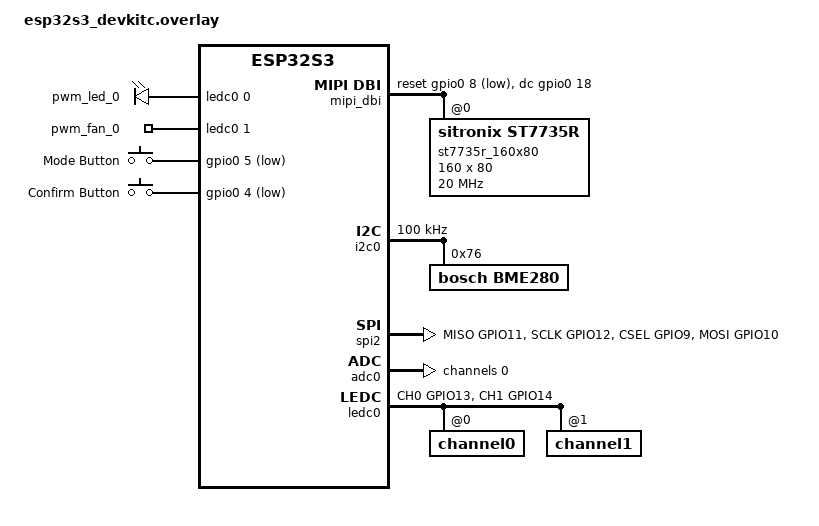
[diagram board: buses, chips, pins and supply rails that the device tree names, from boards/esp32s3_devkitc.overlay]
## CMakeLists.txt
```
cmake_minimum_required(VERSION 3.20.0)

find_package(Zephyr REQUIRED HINTS $ENV{ZEPHYR_BASE})
project(smart_env_monitor)

target_sources(app PRIVATE
    src/main.c
    src/sensor_thread.c
    src/input_thread.c
    src/controller_thread.c
    src/display_thread.c
    src/ui/screen_dashboard.c
    src/ui/screen_settings.c
    src/ui/screen_history.c
)

target_include_directories(app PRIVATE src)
```

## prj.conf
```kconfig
# ==============================================================================
# Smart Environment Monitor & Controller - Zephyr RTOS Configuration
# ==============================================================================

# ---- Stack Sizes ----
CONFIG_MAIN_STACK_SIZE=4096
CONFIG_SYSTEM_WORKQUEUE_STACK_SIZE=2048

# ---- Sensor Subsystem (BME280 via I2C) ----
CONFIG_SENSOR=y
CONFIG_I2C=y
CONFIG_BME280=y

# ---- Display (ST7735R via SPI) ----
CONFIG_SPI=y
CONFIG_DISPLAY=y

# ---- LVGL Graphics Library ----
CONFIG_LVGL=y
CONFIG_LV_MEM_CUSTOM=y
CONFIG_LV_Z_BITS_PER_PIXEL=16
CONFIG_LV_COLOR_16_SWAP=y
CONFIG_LV_Z_MEM_POOL_SIZE=16384

# LVGL Widgets
CONFIG_LV_CONF_MINIMAL=y
CONFIG_LV_USE_LABEL=y
CONFIG_LV_LABEL_TEXT_SELECTION=y
CONFIG_LV_LABEL_LONG_TXT_HINT=y
CONFIG_LV_USE_LINE=y
CONFIG_LV_USE_BAR=y
CONFIG_LV_USE_ARC=y
CONFIG_LV_USE_IMG=y

# LVGL Font (built-in Montserrat)
CONFIG_LV_FONT_MONTSERRAT_10=y
CONFIG_LV_FONT_MONTSERRAT_14=y
CONFIG_LV_FONT_MONTSERRAT_18=y

# ---- ADC (Potentiometer) ----
CONFIG_ADC=y

# ---- PWM (Fan + LED brightness) ----
CONFIG_PWM=y

# ---- GPIO (Buttons, LED) ----
CONFIG_GPIO=y

# ---- Floating Point Print Support ----
CONFIG_CBPRINTF_FP_SUPPORT=y

# ---- Logging ----
CONFIG_LOG=y
CONFIG_SENSOR_LOG_LEVEL_INF=y

# ---- Kernel Objects ----
CONFIG_POLL=y
```

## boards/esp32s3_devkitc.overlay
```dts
/*
 * Devicetree Overlay - Smart Environment Monitor & Controller
 * Board: ESP32-S3-DevKitC
 *
 * Hardware Pin Mapping:
 *   BME280       : I2C0 → SDA=GPIO15, SCL=GPIO16
 *   ST7735S LCD  : SPI2 → MOSI=GPIO10, MISO=GPIO11, SCLK=GPIO12, CS=GPIO9, DC=GPIO18, RST=GPIO8
 *   LED (PWM)    : LEDC CH0 → GPIO13
 *   Fan (PWM)    : LEDC CH1 → GPIO14
 *   Button 1     : GPIO5  (Mode select,  ACTIVE_LOW + internal PULL_UP)
 *   Button 2     : GPIO4  (Confirm/Act,  ACTIVE_LOW + internal PULL_UP)
 *   Potentiometer: ADC1 CH0 → GPIO1
 */

#include <zephyr/dt-bindings/pwm/pwm.h>
#include <zephyr/dt-bindings/mipi_dbi/mipi_dbi.h>
#include <zephyr/dt-bindings/pinctrl/esp32s3-pinctrl.h>

/ {
    aliases {
        my-bme280 = &bme280;
        my-led = &pwm_led_0;
        my-fan = &pwm_fan_0;
        my-button-mode = &button_mode;
        my-button-confirm = &button_confirm;
        my-adc = &adc0;
        my-adc-channel = &adc0_ch0;
    };

    chosen {
        zephyr,display = &st7735r_160x80;
    };

    /* ---- LEDs (PWM mode) ---- */
    my-pwm-leds {
        compatible = "pwm-leds";
        pwm_led_0: pwm_led_0 {
            pwms = <&ledc0 0 1000000 PWM_POLARITY_NORMAL>;
        };
    };

    /* ---- Fan (PWM mode) ---- */
    my-pwm-fans {
        compatible = "pwm-leds";
        pwm_fan_0: pwm_fan_0 {
            pwms = <&ledc0 1 1000000 PWM_POLARITY_NORMAL>;
        };
    };

    /* ---- Buttons ---- */
    buttons {
        compatible = "gpio-keys";
        debounce-interval-ms = <50>;

        button_mode: button_0 {
            gpios = <&gpio0 5 (GPIO_ACTIVE_LOW | GPIO_PULL_UP)>;
            label = "Mode Button";
        };
        button_confirm: button_1 {
            gpios = <&gpio0 4 (GPIO_ACTIVE_LOW | GPIO_PULL_UP)>;
            label = "Confirm Button";
        };
    };

    /* ---- MIPI DBI (SPI Display Interface) ---- */
    mipi_dbi {
        compatible = "zephyr,mipi-dbi-spi";
        spi-dev = <&spi2>;
        dc-gpios = <&gpio0 18 GPIO_ACTIVE_HIGH>;
        reset-gpios = <&gpio0 8 GPIO_ACTIVE_LOW>;
        #address-cells = <1>;
        #size-cells = <0>;

        st7735r_160x80: st7735r@0 {
            compatible = "sitronix,st7735r";
            reg = <0>;
            mipi-max-frequency = <20000000>;
            mipi-mode = <MIPI_DBI_MODE_SPI_4WIRE>;
            width = <160>;
            height = <80>;
            rgb-is-inverted;
            x-offset = <0>;
            y-offset = <24>;
            pwctr1 = [A2 02 84];
            pwctr2 = [C5];
            pwctr3 = [0A 00];
            pwctr4 = [8A 2A];
            pwctr5 = [8A EE];
            invctr = <7>;
            frmctr1 = [01 2C 2D];
            frmctr2 = [01 2C 2D];
            frmctr3 = [01 2C 2D 01 2C 2D];
            vmctr1 = <14>;
            gamctrp1 = [02 1C 07 12 37 32 29 2D 29 25 2B 39 00 01 03 10];
            gamctrn1 = [03 1D 07 06 2E 2C 29 2D 2E 2E 37 3F 00 00 02 10];
            colmod = <5>;
            madctl = <184>;
            caset = [00 00 00 9f];
            raset = [00 18 00 67];
        };
    };
};

/* ---- I2C0: BME280 ---- */
&pinctrl {
    i2c0_default: i2c0_default {
        group1 {
            pinmux = <I2C0_SDA_GPIO15>,
                     <I2C0_SCL_GPIO16>;
            bias-pull-up;
            drive-open-drain;
        };
    };

    /* SPI2: ST7735S LCD */
    spi2_custom_pins: spi2_custom_pins {
        group1 {
            pinmux = <SPIM2_MISO_GPIO11>,
                     <SPIM2_SCLK_GPIO12>,
                     <SPIM2_CSEL_GPIO9>;
        };
        group2 {
            pinmux = <SPIM2_MOSI_GPIO10>;
            output-low;
        };
    };

    /* LEDC: PWM for LED (CH0→GPIO13) and Fan (CH1→GPIO14) */
    ledctrl_0: led-0 {
        group1 {
            pinmux = <LEDC_CH0_GPIO13>,
                     <LEDC_CH1_GPIO14>;
            output-enable;
        };
    };
};

&i2c0 {
    status = "okay";
    clock-frequency = <I2C_BITRATE_STANDARD>;
    pinctrl-0 = <&i2c0_default>;
    pinctrl-names = "default";

    bme280: bme280@76 {
        compatible = "bosch,bme280";
        reg = <0x76>;
        status = "okay";
    };
};

&spi2 {
    pinctrl-0 = <&spi2_custom_pins>;
    status = "okay";
};

/* ---- ADC1: Potentiometer ---- */
&adc0 {
    status = "okay";
    #address-cells = <1>;
    #size-cells = <0>;

    adc0_ch0: channel@0 {
        reg = <0>;
        zephyr,gain = "ADC_GAIN_1_4";
        zephyr,reference = "ADC_REF_INTERNAL";
        zephyr,vref-mv = <3900>;
        zephyr,acquisition-time = <ADC_ACQ_TIME_DEFAULT>;
        zephyr,resolution = <12>;
    };
};

/* ---- LEDC: PWM Controller ---- */
&ledc0 {
    pinctrl-0 = <&ledctrl_0>;
    pinctrl-names = "default";
    status = "okay";
    #address-cells = <1>;
    #size-cells = <0>;

    channel0@0 {
        reg = <0x0>;
        timer = <0>;
    };
    channel1@1 {
        reg = <0x1>;
        timer = <1>;
    };
};
```

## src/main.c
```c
/**
 * @file main.c
 * @brief Smart Environment Monitor & Controller - Application Entry Point
 *
 * Initializes all message queues and spawns the 4 application threads:
 *   1. Sensor Thread   (Priority 5) - BME280 readings
 *   2. Input Thread    (Priority 4) - Buttons + Potentiometer
 *   3. Controller Thread (Priority 6) - State machine + actuators
 *   4. Display Thread  (Priority 7) - LVGL rendering on LCD
 */

#include <zephyr/kernel.h>
#include <zephyr/sys/printk.h>
#include "common.h"

/* ============================================================================
 * Thread Stack & Configuration
 * ========================================================================= */

#define SENSOR_STACK_SIZE       1024
#define INPUT_STACK_SIZE        1024
#define CONTROLLER_STACK_SIZE   2048
#define DISPLAY_STACK_SIZE      4096

#define SENSOR_PRIORITY         5
#define INPUT_PRIORITY          4
#define CONTROLLER_PRIORITY     6
#define DISPLAY_PRIORITY        7

K_THREAD_STACK_DEFINE(sensor_stack, SENSOR_STACK_SIZE);
K_THREAD_STACK_DEFINE(input_stack, INPUT_STACK_SIZE);
K_THREAD_STACK_DEFINE(controller_stack, CONTROLLER_STACK_SIZE);
K_THREAD_STACK_DEFINE(display_stack, DISPLAY_STACK_SIZE);

static struct k_thread sensor_thread_data;
static struct k_thread input_thread_data;
static struct k_thread controller_thread_data;
static struct k_thread display_thread_data;

/* ============================================================================
 * Message Queue Definitions
 * ========================================================================= */

/** Sensor → Controller: up to 10 sensor readings buffered */
K_MSGQ_DEFINE(sensor_msgq, sizeof(sensor_data_t), 10, 4);

/** Input → Controller: up to 10 input events buffered */
K_MSGQ_DEFINE(input_msgq, sizeof(input_event_t), 10, 4);

/** Controller → Display: 2-deep buffer (latest state) */
K_MSGQ_DEFINE(display_msgq, sizeof(display_data_t), 2, 4);

/* ============================================================================
 * Main Entry Point
 * ========================================================================= */

int main(void)
{
    printk("==============================================\n");
    printk(" Smart Environment Monitor & Controller\n");
    printk(" Platform: ESP32-S3-DevKitC + Zephyr RTOS\n");
    printk("==============================================\n\n");

    /* --- Spawn Sensor Thread --- */
    k_thread_create(&sensor_thread_data,
                    sensor_stack,
                    K_THREAD_STACK_SIZEOF(sensor_stack),
                    sensor_thread_entry,
                    NULL, NULL, NULL,
                    SENSOR_PRIORITY,
                    0,
                    K_NO_WAIT);
    k_thread_name_set(&sensor_thread_data, "sensor");
    printk("[main] Sensor thread created (priority %d)\n", SENSOR_PRIORITY);

    /* --- Spawn Input Thread --- */
    k_thread_create(&input_thread_data,
                    input_stack,
                    K_THREAD_STACK_SIZEOF(input_stack),
                    input_thread_entry,
                    NULL, NULL, NULL,
                    INPUT_PRIORITY,
                    0,
                    K_NO_WAIT);
    k_thread_name_set(&input_thread_data, "input");
    printk("[main] Input thread created (priority %d)\n", INPUT_PRIORITY);

    /* --- Spawn Controller Thread --- */
    k_thread_create(&controller_thread_data,
                    controller_stack,
                    K_THREAD_STACK_SIZEOF(controller_stack),
                    controller_thread_entry,
                    NULL, NULL, NULL,
                    CONTROLLER_PRIORITY,
                    0,
                    K_NO_WAIT);
    k_thread_name_set(&controller_thread_data, "controller");
    printk("[main] Controller thread created (priority %d)\n", CONTROLLER_PRIORITY);

    /* --- Spawn Display Thread --- */
    k_thread_create(&display_thread_data,
                    display_stack,
                    K_THREAD_STACK_SIZEOF(display_stack),
                    display_thread_entry,
                    NULL, NULL, NULL,
                    DISPLAY_PRIORITY,
                    0,
                    K_NO_WAIT);
    k_thread_name_set(&display_thread_data, "display");
    printk("[main] Display thread created (priority %d)\n", DISPLAY_PRIORITY);

    printk("\n[main] All threads started. System running.\n");

    /* Main thread has nothing else to do */
    while (1) {
        k_sleep(K_FOREVER);
    }

    return 0;
}
```

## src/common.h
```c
/**
 * @file common.h
 * @brief Shared data structures, enums, and message queue definitions
 *        for the Smart Environment Monitor & Controller.
 *
 * This header defines the inter-thread communication protocol:
 *   - sensor_data_t:   Sensor thread → Controller thread
 *   - input_event_t:   Input thread  → Controller thread
 *   - display_data_t:  Controller    → Display thread
 */

#ifndef COMMON_H
#define COMMON_H

#include <zephyr/kernel.h>
#include <zephyr/drivers/sensor.h>

/* ============================================================================
 * System Constants
 * ========================================================================= */

/** Temperature threshold range (°C) adjustable via potentiometer */
#define TEMP_THRESHOLD_MIN      20.0f
#define TEMP_THRESHOLD_MAX      40.0f
#define TEMP_THRESHOLD_DEFAULT  30.0f

/** Warning and critical offsets relative to threshold */
#define TEMP_WARNING_OFFSET     0.5f    /* Warning when within 0.5°C of threshold */
#define TEMP_CRITICAL_OFFSET    3.0f    /* Critical when 3.0°C above threshold */

/** Hysteresis to prevent rapid state oscillation (hunting) */
#define TEMP_HYSTERESIS         0.3f

/** History buffer for temperature chart */
#define TEMP_HISTORY_SIZE       60

/* ============================================================================
 * Actuator & Sensor Calibration Limits
 * ========================================================================= */

/**
 * Potentiometer ADC Calibration Limits:
 * - On ESP32-S3 with 3.3V supply and ADC_GAIN_1_4, the raw 12-bit ADC reading
 *   tops out at ~2850 at 3.3V (not 4095).
 * - Defining realistic MIN/MAX bounds ensures full 20.0°C - 40.0°C sweep.
 */
#define POT_ADC_RAW_MIN         20
#define POT_ADC_RAW_MAX         2850

/**
 * L298N Motor Driver Safety Limits (12V Adapter -> 3-6V DC Motor):
 * - Supply = 12V, L298N V_drop ≈ 1.8V -> Peak voltage ≈ 10.2V.
 * - MAX 50% PWM duty limits effective average voltage to ~5.1V - 5.5V (protects motor).
 * - MIN 28% PWM duty ensures motor overcomes static friction (~2.8V - 3.0V).
 */
#define FAN_PWM_MIN_DUTY_PCT    28.0f   /**< Min PWM duty when spinning (prevents stall) */
#define FAN_PWM_MAX_DUTY_PCT    50.0f   /**< Max PWM duty (caps voltage <= 5.5V on 12V supply) */

/**
 * LED PWM Limits:
 * - Limits maximum brightness to protect LED and avoid harsh glare.
 */
#define LED_PWM_MAX_DUTY_PCT    80.0f   /**< Max brightness limit (0-100%) */

/* ============================================================================
 * Enumerations
 * ========================================================================= */

/**
 * @brief System operating states (State Machine)
 */
typedef enum {
    STATE_IDLE = 0,     /**< Temp < (Threshold - 0.5°C) → fan off (0%), LED off */
    STATE_WARNING,      /**< Temp approaching Threshold (within 0.5°C) → fan 30%, LED blink slow */
    STATE_COOLING,      /**< Temp >= Threshold → fan 70%, LED on solid */
    STATE_CRITICAL,     /**< Temp >= Threshold + 3.0°C → fan 100%, LED blink fast */
} system_state_t;

/**
 * @brief Display screen modes (cycled by Button 1)
 */
typedef enum {
    SCREEN_DASHBOARD = 0,
    SCREEN_SETTINGS,
    SCREEN_HISTORY,
    SCREEN_COUNT        /**< Total number of screens */
} screen_mode_t;

/**
 * @brief Input event types
 */
typedef enum {
    INPUT_EVT_MODE_PRESS = 0,   /**< Button 1 pressed → cycle screen */
    INPUT_EVT_CONFIRM_PRESS,    /**< Button 2 pressed → confirm action / save threshold */
    INPUT_EVT_THRESHOLD_CHANGE, /**< Potentiometer value changed (staged preview) */
} input_event_type_t;

/* ============================================================================
 * Data Structures
 * ========================================================================= */

/**
 * @brief Sensor data packet (Sensor Thread → Controller Thread)
 */
typedef struct {
    float temperature;      /**< Temperature in °C */
    float humidity;         /**< Relative humidity in % */
    float pressure;         /**< Atmospheric pressure in kPa */
    int64_t timestamp_ms;   /**< Kernel uptime when sampled */
} sensor_data_t;

/**
 * @brief Input event packet (Input Thread → Controller Thread)
 */
typedef struct {
    input_event_type_t type;
    float value;            /**< For THRESHOLD_CHANGE: staged threshold in °C */
} input_event_t;

/**
 * @brief Display data packet (Controller Thread → Display Thread)
 *        Contains everything the display needs to render.
 */
typedef struct {
    /* Current sensor readings */
    float temperature;
    float humidity;
    float pressure;

    /* System state */
    system_state_t state;
    screen_mode_t  screen;
    float temp_threshold;       /**< Active threshold controlling state machine */
    float pending_threshold;    /**< Staged threshold being adjusted by potentiometer */
    bool  threshold_pending;    /**< True if user changed potentiometer without confirming */
    float fan_duty_pct;         /**< Fan duty cycle 0-100% */

    /* Temperature history for chart */
    float temp_history[TEMP_HISTORY_SIZE];
    int   history_count;    /**< Number of valid entries in history */
    int   history_index;    /**< Next write index (circular) */
} display_data_t;

/* ============================================================================
 * Message Queue Declarations (defined in main.c)
 * ========================================================================= */

/** Sensor → Controller: sensor readings */
extern struct k_msgq sensor_msgq;

/** Input → Controller: user input events */
extern struct k_msgq input_msgq;

/** Controller → Display: display update data */
extern struct k_msgq display_msgq;

/* ============================================================================
 * Thread Entry Point Declarations
 * ========================================================================= */

/**
 * @brief Sensor thread: reads BME280 periodically and pushes to sensor_msgq.
 */
void sensor_thread_entry(void *arg1, void *arg2, void *arg3);

/**
 * @brief Input thread: handles button ISRs (via workqueue) and ADC reads.
 */
void input_thread_entry(void *arg1, void *arg2, void *arg3);

/**
 * @brief Controller thread: state machine, fan/LED control.
 */
void controller_thread_entry(void *arg1, void *arg2, void *arg3);

/**
 * @brief Display thread: LVGL rendering on ST7735S LCD.
 */
void display_thread_entry(void *arg1, void *arg2, void *arg3);

#endif /* COMMON_H */
```

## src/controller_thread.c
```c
/**
 * @file controller_thread.c
 * @brief Controller Thread - State Machine + Fan/LED Actuator Control
 *
 * The brain of the system. Receives sensor data and user input, runs a
 * state machine to determine the appropriate system response, controls
 * the fan (PWM) and LED (PWM), and pushes aggregated display data.
 *
 * State Machine:
 *   IDLE     → temp < (threshold - hysteresis)
 *   WARNING  → temp within WARNING_OFFSET of threshold
 *   COOLING  → temp > threshold
 *   CRITICAL → temp > (threshold + CRITICAL_OFFSET)
 *
 * Zephyr concepts demonstrated:
 *   - Message queue consumer (k_msgq_get with K_NO_WAIT for polling)
 *   - PWM driver (pwm_set_pulse_dt)
 *   - Kernel timer for LED blink patterns (k_timer)
 *   - State machine design pattern
 *   - Hysteresis for stable state transitions
 */

#include <zephyr/kernel.h>
#include <zephyr/device.h>
#include <zephyr/drivers/pwm.h>
#include <zephyr/sys/printk.h>

#include <string.h>

#include "common.h"

/* ============================================================================
 * Configuration
 * ========================================================================= */

/** Controller loop interval */
#define CONTROLLER_LOOP_MS      100

/** LED blink periods (in timer ticks) */
#define LED_BLINK_SLOW_MS       500     /* Warning: 1 Hz */
#define LED_BLINK_FAST_MS       100     /* Critical: 5 Hz */

/* ============================================================================
 * Devicetree Bindings
 * ========================================================================= */

/** LED and Fan are defined as pwm-leds in the overlay */
static const struct pwm_dt_spec pwm_led =
    PWM_DT_SPEC_GET(DT_ALIAS(my_led));
static const struct pwm_dt_spec pwm_fan =
    PWM_DT_SPEC_GET(DT_ALIAS(my_fan));

/* ============================================================================
 * Internal State
 * ========================================================================= */

static system_state_t current_state = STATE_IDLE;
static screen_mode_t  current_screen = SCREEN_DASHBOARD;
static float active_threshold = TEMP_THRESHOLD_DEFAULT;   /* Applied threshold for control */
static float pending_threshold = TEMP_THRESHOLD_DEFAULT;  /* Knob preview threshold */
static bool  threshold_pending = false;                   /* True if knob changed without confirm */
static float current_fan_duty = 0.0f;

/* Latest sensor data */
static sensor_data_t latest_sensor = {0};

/* Temperature history (circular buffer) */
static float temp_history[TEMP_HISTORY_SIZE] = {0};
static int   history_count = 0;
static int   history_index = 0;

/* LED blink state */
static bool led_blink_on = false;
static int  led_blink_counter = 0;

/* ============================================================================
 * PWM Helpers
 * ========================================================================= */

/**
 * @brief Set fan speed from logical percentage (0-100%).
 *
 * Maps logical speed to safe physical PWM duty cycle
 * [FAN_PWM_MIN_DUTY_PCT, FAN_PWM_MAX_DUTY_PCT] to protect 3-6V DC motors
 * when powered by a 12V adapter through L298N.
 *
 * @param logical_pct  Logical fan speed (0.0 to 100.0%)
 */
static void set_fan_speed(float logical_pct)
{
    if (logical_pct <= 0.0f) {
        current_fan_duty = 0.0f;
        pwm_set_pulse_dt(&pwm_fan, 0);
        return;
    }

    if (logical_pct > 100.0f) {
        logical_pct = 100.0f;
    }

    /* Save logical percentage for UI display */
    current_fan_duty = logical_pct;

    /* Linearly map logical 0-100% to safe physical hardware PWM [MIN, MAX] */
    float physical_duty = FAN_PWM_MIN_DUTY_PCT +
        (logical_pct / 100.0f) * (FAN_PWM_MAX_DUTY_PCT - FAN_PWM_MIN_DUTY_PCT);

    /* Absolute hardware safety clamp */
    if (physical_duty > FAN_PWM_MAX_DUTY_PCT) {
        physical_duty = FAN_PWM_MAX_DUTY_PCT;
    } else if (physical_duty < FAN_PWM_MIN_DUTY_PCT) {
        physical_duty = FAN_PWM_MIN_DUTY_PCT;
    }

    uint32_t pulse = (uint32_t)((physical_duty / 100.0f) * pwm_fan.period);
    int ret = pwm_set_pulse_dt(&pwm_fan, pulse);
    if (ret < 0) {
        printk("[ctrl] Fan PWM error: %d\n", ret);
    }
}

/**
 * @brief Set LED brightness from logical percentage (0-100%).
 *
 * Scales output to [0, LED_PWM_MAX_DUTY_PCT] for safety and eye comfort.
 *
 * @param logical_pct  Logical LED brightness (0.0 to 100.0%)
 */
static void set_led_brightness(float logical_pct)
{
    if (logical_pct <= 0.0f) {
        pwm_set_pulse_dt(&pwm_led, 0);
        return;
    }

    if (logical_pct > 100.0f) {
        logical_pct = 100.0f;
    }

    float physical_duty = (logical_pct / 100.0f) * LED_PWM_MAX_DUTY_PCT;
    if (physical_duty > LED_PWM_MAX_DUTY_PCT) {
        physical_duty = LED_PWM_MAX_DUTY_PCT;
    }

    uint32_t pulse = (uint32_t)((physical_duty / 100.0f) * pwm_led.period);
    int ret = pwm_set_pulse_dt(&pwm_led, pulse);
    if (ret < 0) {
        printk("[ctrl] LED PWM error: %d\n", ret);
    }
}

/* ============================================================================
 * State Machine
 * ========================================================================= */

/**
 * @brief Determine the next system state based on temperature and threshold.
 *        Implements hysteresis to prevent rapid oscillation (hunting).
 *
 * @param temp       Current temperature in °C
 * @param threshold  Current temperature threshold in °C
 * @return           New system state
 */
static system_state_t evaluate_state(float temp, float threshold)
{
    float warning_line  = threshold - TEMP_WARNING_OFFSET;
    float cooling_line  = threshold;
    float critical_line = threshold + TEMP_CRITICAL_OFFSET;

    /*
     * Hysteresis: when transitioning DOWN (cooling), require temperature
     * to drop further before changing state. This prevents rapid toggling
     * when temp hovers near a boundary.
     */
    switch (current_state) {
    case STATE_IDLE:
        if (temp >= critical_line) {
            return STATE_CRITICAL;
        } else if (temp >= cooling_line) {
            return STATE_COOLING;
        } else if (temp >= warning_line) {
            return STATE_WARNING;
        }
        return STATE_IDLE;

    case STATE_WARNING:
        if (temp >= critical_line) {
            return STATE_CRITICAL;
        } else if (temp >= cooling_line) {
            return STATE_COOLING;
        } else if (temp < (warning_line - TEMP_HYSTERESIS)) {
            return STATE_IDLE;
        }
        return STATE_WARNING;

    case STATE_COOLING:
        if (temp >= critical_line) {
            return STATE_CRITICAL;
        } else if (temp < (cooling_line - TEMP_HYSTERESIS)) {
            if (temp < (warning_line - TEMP_HYSTERESIS)) {
                return STATE_IDLE;
            }
            return STATE_WARNING;
        }
        return STATE_COOLING;

    case STATE_CRITICAL:
        if (temp < (critical_line - TEMP_HYSTERESIS)) {
            if (temp < (cooling_line - TEMP_HYSTERESIS)) {
                if (temp < (warning_line - TEMP_HYSTERESIS)) {
                    return STATE_IDLE;
                }
                return STATE_WARNING;
            }
            return STATE_COOLING;
        }
        return STATE_CRITICAL;

    default:
        return STATE_IDLE;
    }
}

/**
 * @brief Apply actuator outputs based on current state.
 */
static void apply_state_outputs(system_state_t state)
{
    switch (state) {
    case STATE_IDLE:
        /* Safe environment: fan OFF, LED OFF */
        set_fan_speed(0.0f);
        set_led_brightness(0.0f);
        break;

    case STATE_WARNING:
        /* Approaching threshold (within 0.5°C): gentle preventive fan (30%), slow LED blink */
        set_fan_speed(30.0f);
        led_blink_counter++;
        if (led_blink_counter >= (LED_BLINK_SLOW_MS / CONTROLLER_LOOP_MS)) {
            led_blink_counter = 0;
            led_blink_on = !led_blink_on;
        }
        set_led_brightness(led_blink_on ? 60.0f : 0.0f);
        break;

    case STATE_COOLING:
        /* At or above threshold: active cooling fan (70%), solid LED */
        set_fan_speed(70.0f);
        set_led_brightness(100.0f);  /* Solid on */
        break;

    case STATE_CRITICAL:
        /* Danger zone (> Threshold + 3.0°C): maximum fan (100%), rapid warning LED */
        set_fan_speed(100.0f);
        led_blink_counter++;
        if (led_blink_counter >= (LED_BLINK_FAST_MS / CONTROLLER_LOOP_MS)) {
            led_blink_counter = 0;
            led_blink_on = !led_blink_on;
        }
        set_led_brightness(led_blink_on ? 100.0f : 0.0f);
        break;
    }
}

/**
 * @brief Record temperature into the circular history buffer.
 */
static void record_history(float temp)
{
    temp_history[history_index] = temp;
    history_index = (history_index + 1) % TEMP_HISTORY_SIZE;
    if (history_count < TEMP_HISTORY_SIZE) {
        history_count++;
    }
}

/**
 * @brief Pack current state into display_data_t and push to display queue.
 */
static void push_display_update(void)
{
    display_data_t disp = {
        .temperature        = latest_sensor.temperature,
        .humidity           = latest_sensor.humidity,
        .pressure           = latest_sensor.pressure,
        .state              = current_state,
        .screen             = current_screen,
        .temp_threshold     = active_threshold,
        .pending_threshold  = pending_threshold,
        .threshold_pending  = threshold_pending,
        .fan_duty_pct       = current_fan_duty,
        .history_count      = history_count,
        .history_index      = history_index,
    };

    /* Copy history buffer */
    memcpy(disp.temp_history, temp_history, sizeof(temp_history));

    /* Purge old display data and put the latest */
    k_msgq_purge(&display_msgq);
    k_msgq_put(&display_msgq, &disp, K_NO_WAIT);
}

/* ============================================================================
 * Controller Thread Entry Point
 * ========================================================================= */

void controller_thread_entry(void *arg1, void *arg2, void *arg3)
{
    ARG_UNUSED(arg1);
    ARG_UNUSED(arg2);
    ARG_UNUSED(arg3);

    sensor_data_t sensor_data;
    input_event_t input_evt;
    system_state_t new_state;
    int display_update_counter = 0;

    /* Verify PWM devices are ready */
    if (!pwm_is_ready_dt(&pwm_led)) {
        printk("[ctrl] ERROR: LED PWM not ready\n");
        return;
    }
    if (!pwm_is_ready_dt(&pwm_fan)) {
        printk("[ctrl] ERROR: Fan PWM not ready\n");
        return;
    }

    /* Initialize outputs to off */
    set_fan_speed(0.0f);
    set_led_brightness(0.0f);

    printk("[ctrl] Controller thread running\n");
    printk("[ctrl] Initial active threshold: %.1f°C\n", (double)active_threshold);

    while (1) {
        k_msleep(CONTROLLER_LOOP_MS);

        /* --- Process all pending sensor readings --- */
        while (k_msgq_get(&sensor_msgq, &sensor_data, K_NO_WAIT) == 0) {
            latest_sensor = sensor_data;
            record_history(sensor_data.temperature);
        }

        /* --- Process all pending input events --- */
        while (k_msgq_get(&input_msgq, &input_evt, K_NO_WAIT) == 0) {
            switch (input_evt.type) {
            case INPUT_EVT_MODE_PRESS:
                /* Cycle through display screens */
                current_screen = (current_screen + 1) % SCREEN_COUNT;
                printk("[ctrl] Screen mode: %d\n", current_screen);
                break;

            case INPUT_EVT_CONFIRM_PRESS:
                /* Confirm button: Commit pending threshold to active threshold */
                if (threshold_pending) {
                    active_threshold = pending_threshold;
                    threshold_pending = false;
                    printk("[ctrl] Threshold CONFIRMED & APPLIED: %.1f°C\n",
                           (double)active_threshold);
                } else {
                    printk("[ctrl] Threshold confirmed (already active: %.1f°C)\n",
                           (double)active_threshold);
                }
                break;

            case INPUT_EVT_THRESHOLD_CHANGE:
                /* Stage new threshold preview only. Do NOT affect active control yet! */
                pending_threshold = input_evt.value;
                threshold_pending = true;
                break;
            }
        }

        /* --- Evaluate state machine against ACTIVE threshold ONLY --- */
        new_state = evaluate_state(latest_sensor.temperature, active_threshold);

        if (new_state != current_state) {
            printk("[ctrl] State: %d → %d (temp=%.1f, active_thresh=%.1f)\n",
                   current_state, new_state,
                   (double)latest_sensor.temperature,
                   (double)active_threshold);
            current_state = new_state;
            led_blink_counter = 0;  /* Reset blink phase on state change */
        }

        /* --- Apply outputs --- */
        apply_state_outputs(current_state);

        /* --- Push display update every 200ms (every 2 loops) --- */
        display_update_counter++;
        if (display_update_counter >= 2) {
            display_update_counter = 0;
            push_display_update();
        }
    }
}
```

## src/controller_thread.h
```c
/**
 * @file controller_thread.h
 * @brief Controller thread public interface
 */

#ifndef CONTROLLER_THREAD_H
#define CONTROLLER_THREAD_H

#include "common.h"

/**
 * @brief Controller thread entry point.
 *        Runs state machine: receives sensor + input data, controls fan/LED,
 *        pushes display_data_t to display_msgq.
 */
void controller_thread_entry(void *arg1, void *arg2, void *arg3);

#endif /* CONTROLLER_THREAD_H */
```

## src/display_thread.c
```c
/**
 * @file display_thread.c
 * @brief Display Thread - LVGL Multi-Screen Rendering on ST7735S LCD
 *
 * Manages 3 LVGL screens (Dashboard, Settings, History) and switches
 * between them based on the screen_mode set by the Controller thread.
 * Receives display_data_t from display_msgq and updates the active screen.
 *
 * Zephyr concepts demonstrated:
 *   - Display driver API (display_blanking_off)
 *   - LVGL integration (lv_scr_act, lv_scr_load, lv_task_handler)
 *   - Message queue consumer (k_msgq_get)
 *   - Multi-screen UI management
 */

#include <zephyr/kernel.h>
#include <zephyr/device.h>
#include <zephyr/drivers/display.h>
#include <zephyr/sys/printk.h>
#include <lvgl.h>

#include "common.h"
#include "ui/ui.h"

/* ============================================================================
 * Configuration
 * ========================================================================= */

/** LVGL tick interval — target ~20 FPS */
#define DISPLAY_TICK_MS     50

/* ============================================================================
 * Screen Objects
 * ========================================================================= */

static lv_obj_t *scr_dashboard;
static lv_obj_t *scr_settings;
static lv_obj_t *scr_history;

/** Currently loaded screen */
static screen_mode_t active_screen = SCREEN_DASHBOARD;

/* ============================================================================
 * Helper: Get screen object from mode enum
 * ========================================================================= */

static lv_obj_t *get_screen_obj(screen_mode_t mode)
{
    switch (mode) {
    case SCREEN_DASHBOARD: return scr_dashboard;
    case SCREEN_SETTINGS:  return scr_settings;
    case SCREEN_HISTORY:   return scr_history;
    default:               return scr_dashboard;
    }
}

/* ============================================================================
 * Display Thread Entry Point
 * ========================================================================= */

void display_thread_entry(void *arg1, void *arg2, void *arg3)
{
    ARG_UNUSED(arg1);
    ARG_UNUSED(arg2);
    ARG_UNUSED(arg3);

    display_data_t disp_data;

    /* --- Initialize Display Device --- */
    const struct device *display = DEVICE_DT_GET(DT_CHOSEN(zephyr_display));
    if (!device_is_ready(display)) {
        printk("[disp] ERROR: Display device not ready\n");
        return;
    }
    printk("[disp] Display initialized\n");

    /* --- Create LVGL Screens --- */

    /*
     * Create 3 independent screen objects. Only one is loaded at a time.
     * lv_scr_act() returns the currently active screen.
     * lv_scr_load() switches the visible screen.
     */

    /* Dashboard Screen (default active) */
    scr_dashboard = lv_obj_create(NULL);
    screen_dashboard_create(scr_dashboard);

    /* Settings Screen */
    scr_settings = lv_obj_create(NULL);
    screen_settings_create(scr_settings);

    /* History Screen */
    scr_history = lv_obj_create(NULL);
    screen_history_create(scr_history);

    /* Load dashboard as the initial screen */
    lv_scr_load(scr_dashboard);
    active_screen = SCREEN_DASHBOARD;

    /* Disable display blanking (turn on the screen) */
    display_blanking_off(display);

    printk("[disp] All screens created. Display thread running.\n");

    /* --- Main Render Loop --- */
    while (1) {

        /* Check for new display data (non-blocking) */
        if (k_msgq_get(&display_msgq, &disp_data, K_NO_WAIT) == 0) {

            /* Switch screen if mode changed */
            if (disp_data.screen != active_screen) {
                active_screen = disp_data.screen;
                lv_scr_load(get_screen_obj(active_screen));
                printk("[disp] Switched to screen %d\n", active_screen);
            }

            /* Update the active screen's content */
            switch (active_screen) {
            case SCREEN_DASHBOARD:
                screen_dashboard_update(&disp_data);
                break;
            case SCREEN_SETTINGS:
                screen_settings_update(&disp_data);
                break;
            case SCREEN_HISTORY:
                screen_history_update(&disp_data);
                break;
            default:
                break;
            }
        }

        /* LVGL tick handler — must be called periodically */
        lv_task_handler();

        /* Sleep to maintain target frame rate */
        k_msleep(DISPLAY_TICK_MS);
    }
}
```

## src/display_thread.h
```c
/**
 * @file display_thread.h
 * @brief Display thread public interface
 */

#ifndef DISPLAY_THREAD_H
#define DISPLAY_THREAD_H

#include "common.h"

/**
 * @brief Display thread entry point.
 *        Receives display_data_t, renders on ST7735S LCD via LVGL.
 */
void display_thread_entry(void *arg1, void *arg2, void *arg3);

#endif /* DISPLAY_THREAD_H */
```

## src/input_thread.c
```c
/**
 * @file input_thread.c
 * @brief Input Thread - Button ISR/Workqueue + ADC Potentiometer Reader
 *
 * Handles two physical buttons using GPIO interrupts with debounce via
 * delayable workqueue, and reads a potentiometer via ADC for threshold
 * adjustment. All input events are pushed as input_event_t to input_msgq.
 *
 * Zephyr concepts demonstrated:
 *   - GPIO interrupt configuration (gpio_pin_interrupt_configure_dt)
 *   - GPIO callback / ISR (gpio_init_callback, gpio_add_callback)
 *   - Delayable workqueue for debounce (k_work_reschedule)
 *   - ADC channel configuration and reading (adc_channel_setup, adc_read)
 *   - Message queue producer (k_msgq_put)
 */

#include <zephyr/kernel.h>
#include <zephyr/device.h>
#include <zephyr/devicetree.h>
#include <zephyr/drivers/gpio.h>
#include <zephyr/drivers/adc.h>
#include <zephyr/sys/printk.h>

#include "common.h"

/* ============================================================================
 * Configuration
 * ========================================================================= */

#define DEBOUNCE_DELAY_MS       50
#define ADC_READ_INTERVAL_MS    200

/* ============================================================================
 * Devicetree Bindings
 * ========================================================================= */

/* Buttons */
static const struct gpio_dt_spec btn_mode =
    GPIO_DT_SPEC_GET(DT_ALIAS(my_button_mode), gpios);
static const struct gpio_dt_spec btn_confirm =
    GPIO_DT_SPEC_GET(DT_ALIAS(my_button_confirm), gpios);

/* ADC */
#define MY_ADC_CH  DT_ALIAS(my_adc_channel)
static const struct device *adc_dev = DEVICE_DT_GET(DT_ALIAS(my_adc));
static const struct adc_channel_cfg adc_ch_cfg = ADC_CHANNEL_CFG_DT(MY_ADC_CH);

/* ============================================================================
 * GPIO Callback Data
 * ========================================================================= */

static struct gpio_callback btn_mode_cb_data;
static struct gpio_callback btn_confirm_cb_data;

/* ============================================================================
 * Delayable Work Items (for button debounce)
 * ========================================================================= */

static struct k_work_delayable mode_work;
static struct k_work_delayable confirm_work;

/* ============================================================================
 * Button ISRs → Workqueue
 * ========================================================================= */

/**
 * @brief GPIO ISR for Mode button (Button 1).
 *        Schedules debounced work item instead of processing directly in ISR.
 */
static void btn_mode_isr(const struct device *dev,
                         struct gpio_callback *cb,
                         uint32_t pins)
{
    k_work_reschedule(&mode_work, K_MSEC(DEBOUNCE_DELAY_MS));
}

/**
 * @brief GPIO ISR for Confirm button (Button 2).
 */
static void btn_confirm_isr(const struct device *dev,
                            struct gpio_callback *cb,
                            uint32_t pins)
{
    k_work_reschedule(&confirm_work, K_MSEC(DEBOUNCE_DELAY_MS));
}

/* ============================================================================
 * Debounced Work Handlers
 * ========================================================================= */

/**
 * @brief Work handler for Mode button (runs after debounce delay).
 *        Reads pin state and sends INPUT_EVT_MODE_PRESS if still active.
 */
static void mode_work_handler(struct k_work *work)
{
    int state = gpio_pin_get_dt(&btn_mode);

    if (state < 0) {
        printk("[input] Error reading mode button: %d\n", state);
        return;
    }

    if (state) {
        input_event_t evt = {
            .type = INPUT_EVT_MODE_PRESS,
            .value = 0.0f
        };
        k_msgq_put(&input_msgq, &evt, K_NO_WAIT);
        printk("[input] Mode button pressed\n");
    }
}

/**
 * @brief Work handler for Confirm button (runs after debounce delay).
 */
static void confirm_work_handler(struct k_work *work)
{
    int state = gpio_pin_get_dt(&btn_confirm);

    if (state < 0) {
        printk("[input] Error reading confirm button: %d\n", state);
        return;
    }

    if (state) {
        input_event_t evt = {
            .type = INPUT_EVT_CONFIRM_PRESS,
            .value = 0.0f
        };
        k_msgq_put(&input_msgq, &evt, K_NO_WAIT);
        printk("[input] Confirm button pressed\n");
    }
}

/* ============================================================================
 * ADC Helper: Read potentiometer and map to threshold range
 * ========================================================================= */

static uint16_t pot_raw_min = POT_ADC_RAW_MIN;
static uint16_t pot_raw_max = POT_ADC_RAW_MAX;

/**
 * @brief Reads the potentiometer ADC value and maps it to the
 *        temperature threshold range [TEMP_THRESHOLD_MIN, TEMP_THRESHOLD_MAX].
 *        Uses calibrated bounds for ESP32-S3 (3.3V rail -> ~2850 raw max).
 *
 * @param seq   Pointer to pre-configured ADC sequence
 * @param buf   Pointer to ADC buffer
 * @return      Mapped threshold value in °C, or negative on error
 */
static float read_potentiometer(struct adc_sequence *seq, uint16_t *buf)
{
    int ret = adc_read(adc_dev, seq);
    if (ret < 0) {
        return -1.0f;
    }

    uint16_t raw = *buf;

    /* Dynamic adaptation: expand range if hardware exceeds bounds */
    if (raw > pot_raw_max) {
        pot_raw_max = raw;
    }
    if (raw < pot_raw_min) {
        pot_raw_min = raw;
    }

    /* Normalize to 0.0 - 1.0 */
    float ratio;
    if (pot_raw_max > pot_raw_min) {
        ratio = (float)(raw - pot_raw_min) / (float)(pot_raw_max - pot_raw_min);
    } else {
        ratio = 0.5f;
    }

    if (ratio < 0.0f) ratio = 0.0f;
    if (ratio > 1.0f) ratio = 1.0f;

    /* Map to temperature range [TEMP_THRESHOLD_MIN, TEMP_THRESHOLD_MAX] */
    float threshold = TEMP_THRESHOLD_MIN +
                      ratio * (TEMP_THRESHOLD_MAX - TEMP_THRESHOLD_MIN);

    return threshold;
}

/* ============================================================================
 * Input Thread Entry Point
 * ========================================================================= */

void input_thread_entry(void *arg1, void *arg2, void *arg3)
{
    ARG_UNUSED(arg1);
    ARG_UNUSED(arg2);
    ARG_UNUSED(arg3);

    int ret;
    uint16_t adc_buf;
    float prev_threshold = -1.0f;

    /* --- Initialize delayable work items --- */
    k_work_init_delayable(&mode_work, mode_work_handler);
    k_work_init_delayable(&confirm_work, confirm_work_handler);

    /* --- Configure Mode Button (GPIO interrupt) --- */
    if (!gpio_is_ready_dt(&btn_mode)) {
        printk("[input] ERROR: Mode button GPIO not ready\n");
        return;
    }
    ret = gpio_pin_configure_dt(&btn_mode, GPIO_INPUT);
    if (ret < 0) {
        printk("[input] ERROR: Could not configure mode button\n");
        return;
    }
    ret = gpio_pin_interrupt_configure_dt(&btn_mode, GPIO_INT_EDGE_TO_ACTIVE);
    if (ret < 0) {
        printk("[input] ERROR: Could not configure mode button interrupt\n");
        return;
    }
    gpio_init_callback(&btn_mode_cb_data, btn_mode_isr, BIT(btn_mode.pin));
    gpio_add_callback(btn_mode.port, &btn_mode_cb_data);
    printk("[input] Mode button configured (GPIO%d)\n", btn_mode.pin);

    /* --- Configure Confirm Button (GPIO interrupt) --- */
    if (!gpio_is_ready_dt(&btn_confirm)) {
        printk("[input] ERROR: Confirm button GPIO not ready\n");
        return;
    }
    ret = gpio_pin_configure_dt(&btn_confirm, GPIO_INPUT);
    if (ret < 0) {
        printk("[input] ERROR: Could not configure confirm button\n");
        return;
    }
    ret = gpio_pin_interrupt_configure_dt(&btn_confirm, GPIO_INT_EDGE_TO_ACTIVE);
    if (ret < 0) {
        printk("[input] ERROR: Could not configure confirm button interrupt\n");
        return;
    }
    gpio_init_callback(&btn_confirm_cb_data, btn_confirm_isr, BIT(btn_confirm.pin));
    gpio_add_callback(btn_confirm.port, &btn_confirm_cb_data);
    printk("[input] Confirm button configured (GPIO%d)\n", btn_confirm.pin);

    /* --- Configure ADC (Potentiometer) --- */
    if (!device_is_ready(adc_dev)) {
        printk("[input] ERROR: ADC not ready\n");
        return;
    }
    ret = adc_channel_setup(adc_dev, &adc_ch_cfg);
    if (ret < 0) {
        printk("[input] ERROR: ADC channel setup failed: %d\n", ret);
        return;
    }
    printk("[input] ADC configured for potentiometer\n");

    /* ADC sequence configuration */
    struct adc_sequence seq = {
        .channels    = BIT(adc_ch_cfg.channel_id),
        .buffer      = &adc_buf,
        .buffer_size = sizeof(adc_buf),
        .resolution  = DT_PROP(MY_ADC_CH, zephyr_resolution),
    };

    printk("[input] Input thread running\n");

    /* --- Main loop: periodically read potentiometer --- */
    /* Button events are handled asynchronously via ISR → workqueue */
    while (1) {
        k_msleep(ADC_READ_INTERVAL_MS);

        /* Read potentiometer and detect significant changes */
        float threshold = read_potentiometer(&seq, &adc_buf);
        if (threshold < 0) {
            continue;   /* ADC read failed */
        }

        /*
         * Send event if threshold changed by more than 0.2°C
         * to give smooth, responsive adjustment without flooding the queue.
         */
        float diff = threshold - prev_threshold;
        if (diff < 0) diff = -diff;  /* abs() */

        if (diff >= 0.2f || prev_threshold < 0.0f) {
            prev_threshold = threshold;

            input_event_t evt = {
                .type  = INPUT_EVT_THRESHOLD_CHANGE,
                .value = threshold,
            };
            k_msgq_put(&input_msgq, &evt, K_NO_WAIT);
        }
    }
}
```

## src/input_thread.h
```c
/**
 * @file input_thread.h
 * @brief Input thread public interface
 */

#ifndef INPUT_THREAD_H
#define INPUT_THREAD_H

#include "common.h"

/**
 * @brief Input thread entry point.
 *        Handles button ISRs via workqueue (debounce) and ADC potentiometer reads.
 */
void input_thread_entry(void *arg1, void *arg2, void *arg3);

#endif /* INPUT_THREAD_H */
```

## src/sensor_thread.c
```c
/**
 * @file sensor_thread.c
 * @brief Sensor Thread - BME280 Temperature/Humidity/Pressure Reader
 *
 * Periodically reads the BME280 sensor via I2C and pushes structured
 * sensor_data_t packets to sensor_msgq for the Controller thread.
 *
 * Zephyr concepts demonstrated:
 *   - Sensor driver API (sensor_sample_fetch, sensor_channel_get)
 *   - Devicetree device binding (DEVICE_DT_GET_ANY)
 *   - Message queue producer (k_msgq_put)
 *   - Periodic task via k_msleep
 */

#include <zephyr/kernel.h>
#include <zephyr/device.h>
#include <zephyr/drivers/sensor.h>
#include <zephyr/sys/printk.h>

#include "common.h"

/* ============================================================================
 * Configuration
 * ========================================================================= */

/** Sensor sampling interval in milliseconds */
#define SENSOR_SAMPLE_INTERVAL_MS   1000

/* ============================================================================
 * Sensor Thread Entry Point
 * ========================================================================= */

void sensor_thread_entry(void *arg1, void *arg2, void *arg3)
{
    ARG_UNUSED(arg1);
    ARG_UNUSED(arg2);
    ARG_UNUSED(arg3);

    int ret;
    struct sensor_value temp, humidity, pressure;
    sensor_data_t data;

    /* Get BME280 device handle from Devicetree */
    const struct device *const bme280 = DEVICE_DT_GET_ANY(bosch_bme280);

    if (bme280 == NULL) {
        printk("[sensor] ERROR: BME280 not found in devicetree\n");
        return;
    }

    if (!device_is_ready(bme280)) {
        printk("[sensor] ERROR: BME280 device %s is not ready\n", bme280->name);
        return;
    }

    printk("[sensor] BME280 initialized: %s\n", bme280->name);
    printk("[sensor] Sampling every %d ms\n", SENSOR_SAMPLE_INTERVAL_MS);

    while (1) {
        /* Sleep at the start to prevent fast loop on failure */
        k_msleep(SENSOR_SAMPLE_INTERVAL_MS);

        /* Fetch all channels from BME280 */
        ret = sensor_sample_fetch(bme280);
        if (ret < 0) {
            printk("[sensor] Fetch error: %d\n", ret);
            continue;
        }

        /* Read temperature channel */
        ret = sensor_channel_get(bme280, SENSOR_CHAN_AMBIENT_TEMP, &temp);
        if (ret < 0) {
            printk("[sensor] Temp channel error: %d\n", ret);
            continue;
        }

        /* Read humidity channel */
        ret = sensor_channel_get(bme280, SENSOR_CHAN_HUMIDITY, &humidity);
        if (ret < 0) {
            printk("[sensor] Humidity channel error: %d\n", ret);
            continue;
        }

        /* Read pressure channel */
        ret = sensor_channel_get(bme280, SENSOR_CHAN_PRESS, &pressure);
        if (ret < 0) {
            printk("[sensor] Pressure channel error: %d\n", ret);
            continue;
        }

        /* Pack data into message struct */
        data.temperature  = sensor_value_to_double(&temp);
        data.humidity     = sensor_value_to_double(&humidity);
        data.pressure     = sensor_value_to_double(&pressure);
        data.timestamp_ms = k_uptime_get();

        /* Push to sensor message queue (non-blocking) */
        ret = k_msgq_put(&sensor_msgq, &data, K_NO_WAIT);
        if (ret < 0) {
            printk("[sensor] Queue full, dropping reading\n");
        }
    }
}
```

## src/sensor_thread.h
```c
/**
 * @file sensor_thread.h
 * @brief Sensor thread public interface
 */

#ifndef SENSOR_THREAD_H
#define SENSOR_THREAD_H

#include "common.h"

/**
 * @brief Sensor thread entry point.
 *        Reads BME280 every 1 second, pushes sensor_data_t to sensor_msgq.
 */
void sensor_thread_entry(void *arg1, void *arg2, void *arg3);

#endif /* SENSOR_THREAD_H */
```
